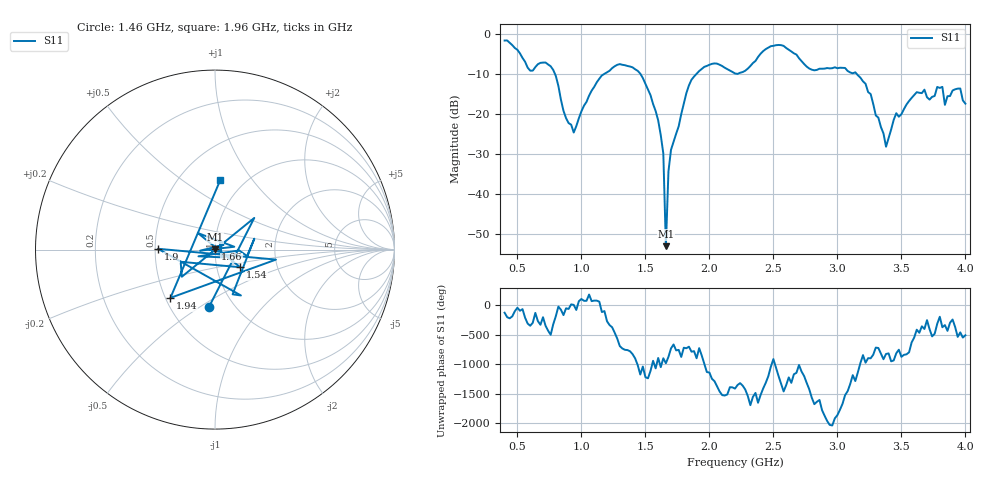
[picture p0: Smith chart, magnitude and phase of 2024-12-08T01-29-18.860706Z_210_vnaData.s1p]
!Created with skrf (http://scikit-rf.org).
# Hz S RI R 50.0
!freq ReS11 ImS11
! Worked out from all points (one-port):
!   181 points, 400 MHz to 4 GHz, reference 50 ohm
!   lowest |S11| = -53.1 dB at 1.66 GHz (marker M1), VSWR 1.00, Z = 50 + j0.221 ohm
!   |S11| at or under -10 dB: 793.5 MHz to 1.179 GHz (385.4 MHz wide, 39.1 % of centre); 1.461 GHz to 1.899 GHz (437 MHz wide, 26 % of centre); 3.151 GHz to end of sweep
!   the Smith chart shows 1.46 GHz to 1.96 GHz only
!   S11 on the Smith chart (normalised r, x): 1.46 GHz: 0.77, -0.54; 1.54 GHz: 1.30, -0.26; 1.66 GHz: 1.00, +0.00; 1.9 GHz: 0.52, +0.01; 1.94 GHz: 0.53, -0.33; 1.96 GHz: 0.78, +0.71
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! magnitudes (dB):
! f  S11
! 400 MHz  -1.6
! 600 MHz  -9.2
! 760 MHz  -8.1
! 860 MHz  -19.2
! 940 MHz  -24.6
! 1.12 GHz  -12.1
! 1.3 GHz  -7.5
! 1.46 GHz  -9.9
! 1.54 GHz  -15.3
! 1.64 GHz  -29.9
! 1.66 GHz  -53.1
! 1.68 GHz  -34.4
! 1.76 GHz  -23.1
! 1.9 GHz  -9.9
! 1.94 GHz  -8.7
! 1.96 GHz  -8.2
! 2.2 GHz  -9.9
! 2.48 GHz  -3.0
! 2.66 GHz  -4.8
! 3.1 GHz  -9.6
! 3.26 GHz  -15.0
! 3.38 GHz  -28.2
! 3.46 GHz  -19.8
! 3.56 GHz  -16.8
! 3.82 GHz  -13.2
! 3.84 GHz  -17.7
! 3.94 GHz  -13.7
! 4 GHz  -17.4
